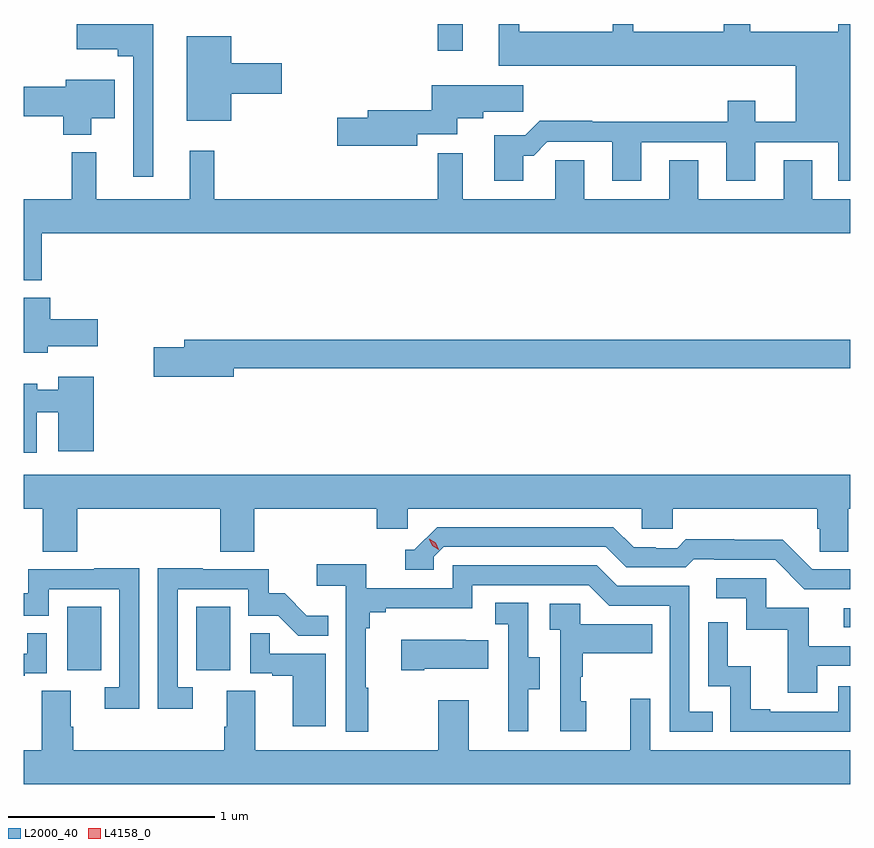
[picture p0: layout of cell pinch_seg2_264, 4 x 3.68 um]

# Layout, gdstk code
import gdstk
lib = gdstk.Library(unit=1e-6, precision=1e-09)
def R(c, l, rs):  # rectangles x0, y0, x1, y1
    for r in rs: c.add(gdstk.rectangle(r[:2], r[2:], *l))
def P(c, l, *ps):  # polygons
    for p in ps: c.add(gdstk.Polygon(p, *l))
L2000_40 = (2000, 40)
L4158_0 = (4158, 0)

pinch_seg2_264 = lib.new_cell('pinch_seg2_264')
R(pinch_seg2_264, L2000_40, [(912.836,660.174,913,660.481), (913.46,660.174,913.624,660.481), (916.593,660.381,916.625,660.474), (914.628,663.171,914.749,663.3)])
P(pinch_seg2_264, L2000_40, [(913.252,663.3),(912.882,663.3),(912.882,663.179),(913.082,663.179),(913.082,663.143),(913.155,663.143),(913.155,662.562),(913.252,662.562)],
  [(915.043,662.663),(915.092,662.663),(915.159,662.73),(915.473,662.73),(915.473,662.541),(915.613,662.541),(915.613,662.727),(916.025,662.727),(916.025,662.541),(916.165,662.541),(916.165,662.727),(916.565,662.727),(916.565,662.541),(916.625,662.541),(916.625,663.3),(916.565,663.3),(916.565,663.262),(916.141,663.262),(916.141,663.3),(916.013,663.3),(916.013,663.262),(915.574,663.262),(915.574,663.3),(915.476,663.3),(915.476,663.262),(915.022,663.262),(915.022,663.3),(914.924,663.3),(914.924,663.098),(916.361,663.098),(916.361,662.828),(916.165,662.828),(916.165,662.929),(916.031,662.929),(916.031,662.828),(915.377,662.828),(915.377,662.831),(915.122,662.831),(915.052,662.761),(914.903,662.761),(914.903,662.541),(915.043,662.541)],
  [(913.63,662.963),(913.873,662.963),(913.873,663.11),(913.63,663.11),(913.63,663.241),(913.415,663.241),(913.415,662.831),(913.63,662.831)],
  [(912.952,662.843),(913.066,662.843),(913.066,663.031),(912.83,663.031),(912.83,662.996),(912.625,662.996),(912.625,662.854),(912.818,662.854),(912.818,662.765),(912.952,662.765)],
  [(914.53,662.766),(914.722,662.766),(914.722,662.843),(914.848,662.843),(914.848,662.875),(915.043,662.875),(915.043,663.004),(914.6,663.004),(914.6,662.882),(914.291,662.882),(914.291,662.846),(914.142,662.846),(914.142,662.711),(914.53,662.711)],
  [(912.625,662.06),(912.713,662.06),(912.713,662.288),(916.625,662.288),(916.625,662.452),(916.441,662.452),(916.441,662.642),(916.301,662.642),(916.301,662.452),(915.889,662.452),(915.889,662.642),(915.749,662.642),(915.749,662.452),(915.337,662.452),(915.337,662.642),(915.198,662.642),(915.198,662.452),(914.749,662.452),(914.749,662.674),(914.628,662.674),(914.628,662.452),(913.547,662.452),(913.547,662.686),(913.43,662.686),(913.43,662.452),(912.977,662.452),(912.977,662.68),(912.859,662.68),(912.859,662.452),(912.625,662.452)],
  [(912.742,661.742),(912.985,661.742),(912.985,661.872),(912.755,661.872),(912.755,661.975),(912.625,661.975),(912.625,661.709),(912.742,661.709)],
  [(913.642,661.636),(916.625,661.636),(916.625,661.772),(913.403,661.772),(913.403,661.736),(913.254,661.736),(913.254,661.594),(913.642,661.594)],
  [(912.69,661.422),(912.794,661.422),(912.794,661.233),(912.965,661.233),(912.965,661.594),(912.794,661.594),(912.794,661.531),(912.691,661.531),(912.691,661.561),(912.625,661.561),(912.625,661.227),(912.69,661.227)],
  [(912.884,660.956),(913.577,660.956),(913.577,660.748),(913.742,660.748),(913.742,660.956),(914.333,660.956),(914.333,660.858),(914.484,660.858),(914.484,660.956),(915.615,660.956),(915.615,660.858),(915.765,660.858),(915.765,660.956),(916.463,660.956),(916.463,660.858),(916.477,660.858),(916.477,660.748),(916.614,660.748),(916.614,660.956),(916.625,660.956),(916.625,661.12),(912.625,661.12),(912.625,660.956),(912.719,660.956),(912.719,660.748),(912.884,660.748)],
  [(916.625,660.663),(916.44,660.663),(916.298,660.805),(916.062,660.805),(916.062,660.808),(915.829,660.808),(915.787,660.765),(915.684,660.765),(915.684,660.768),(915.577,660.768),(915.478,660.867),(914.625,660.867),(914.514,660.756),(914.471,660.756),(914.471,660.66),(914.61,660.66),(914.61,660.723),(914.658,660.771),(915.441,660.771),(915.54,660.672),(915.829,660.672),(915.868,660.711),(915.967,660.711),(915.967,660.708),(916.26,660.708),(916.401,660.567),(916.625,660.567)],
  [(914.293,660.089),(914.281,660.089),(914.281,660.377),(914.3,660.377),(914.3,660.454),(914.377,660.454),(914.377,660.473),(914.796,660.473),(914.796,660.585),(915.36,660.585),(915.459,660.486),(915.75,660.486),(915.75,659.877),(915.959,659.877),(915.959,659.973),(915.846,659.973),(915.846,660.582),(915.496,660.582),(915.397,660.681),(914.7,660.681),(914.7,660.57),(914.282,660.57),(914.282,660.686),(914.043,660.686),(914.043,660.584),(914.184,660.584),(914.184,659.877),(914.293,659.877)],
  [(913.444,660.093),(913.371,660.093),(913.371,660.567),(913.713,660.567),(913.713,660.438),(913.857,660.438),(913.955,660.34),(914.099,660.34),(914.099,660.439),(913.995,660.439),(913.888,660.546),(913.812,660.546),(913.812,660.663),(913.493,660.663),(913.493,660.668),(913.275,660.668),(913.275,659.988),(913.444,659.988)],
  [(913.185,660.668),(912.967,660.668),(912.967,660.663),(912.649,660.663),(912.649,660.546),(912.625,660.546),(912.625,660.438),(912.747,660.438),(912.747,660.567),(913.089,660.567),(913.089,660.093),(913.017,660.093),(913.017,659.988),(913.185,659.988)],
  [(916.465,660.195),(916.625,660.195),(916.625,660.291),(916.423,660.291),(916.423,660.477),(916.218,660.477),(916.218,660.618),(915.975,660.618),(915.975,660.522),(916.122,660.522),(916.122,660.369),(916.321,660.369),(916.321,660.066),(916.465,660.066)],
  [(915.067,660.082),(915.121,660.082),(915.121,660.237),(915.066,660.237),(915.066,660.5),(914.907,660.5),(914.907,660.397),(914.97,660.397),(914.97,660.093),(914.969,660.093),(914.969,659.88),(915.067,659.88)],
  [(915.346,660.024),(915.321,660.024),(915.321,660.143),(915.331,660.143),(915.331,660.257),(915.665,660.257),(915.665,660.397),(915.318,660.397),(915.318,660.495),(915.171,660.495),(915.171,660.371),(915.222,660.371),(915.222,659.88),(915.346,659.88)],
  [(916.625,660.096),(916.566,660.096),(916.566,659.973),(916.237,659.973),(916.237,659.986),(916.142,659.986),(916.142,660.194),(916.032,660.194),(916.032,660.406),(915.936,660.406),(915.936,660.096),(916.044,660.096),(916.044,659.877),(916.625,659.877)],
  [(912.632,660.159),(912.738,660.159),(912.738,660.353),(912.643,660.353),(912.643,660.255),(912.625,660.255),(912.625,660.147),(912.632,660.147)],
  [(914.086,660.255),(913.817,660.255),(913.817,660.353),(913.722,660.353),(913.722,660.159),(913.829,660.159),(913.829,660.147),(913.928,660.147),(913.928,659.904),(914.086,659.904)],
  [(914.563,660.182),(914.873,660.182),(914.873,660.319),(914.765,660.319),(914.765,660.322),(914.451,660.322),(914.451,660.175),(914.563,660.175)],
  [(916.625,659.788),(915.657,659.788),(915.657,660.037),(915.56,660.037),(915.56,659.788),(914.779,659.788),(914.779,660.028),(914.632,660.028),(914.632,659.788),(913.747,659.788),(913.747,660.074),(913.607,660.074),(913.607,659.9),(913.595,659.9),(913.595,659.788),(912.866,659.788),(912.866,659.9),(912.853,659.9),(912.853,660.074),(912.713,660.074),(912.713,659.788),(912.625,659.788),(912.625,659.624),(916.625,659.624)])
P(pinch_seg2_264, L4158_0, [(914.634,660.757),(914.603,660.777),(914.587,660.809),(914.587,660.81),(914.587,660.81),(914.618,660.79),(914.634,660.758),(914.634,660.757)])

lib.write_gds('pinch_seg2_264.gds')
